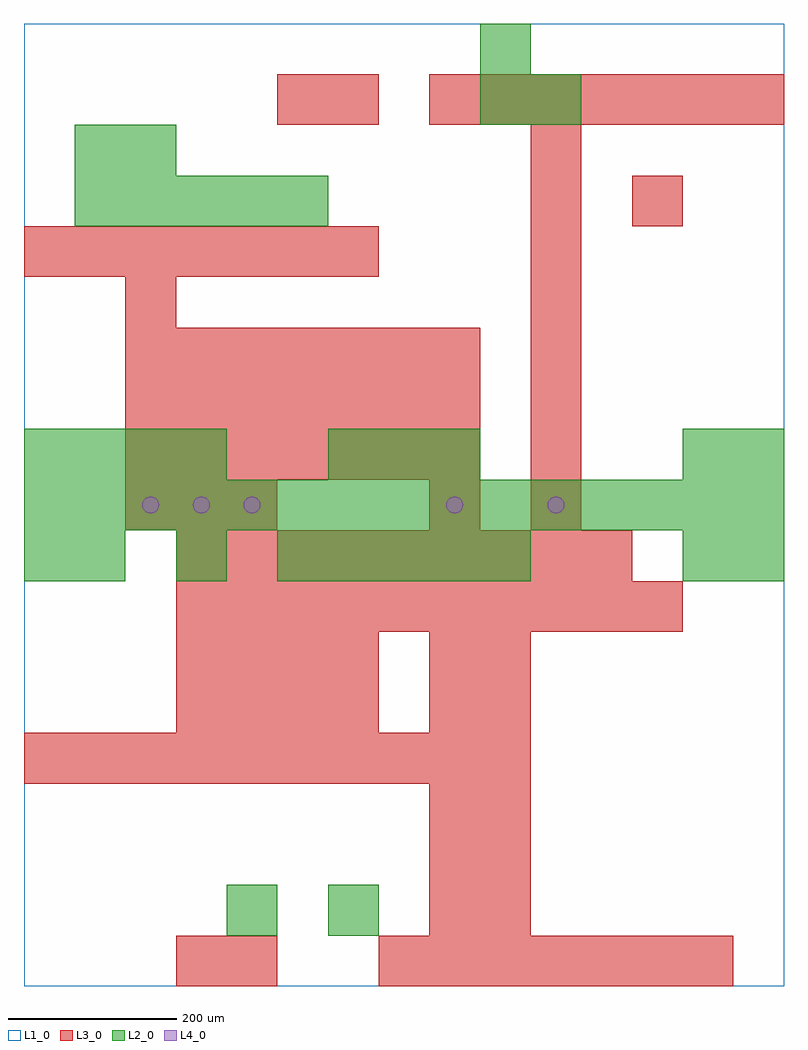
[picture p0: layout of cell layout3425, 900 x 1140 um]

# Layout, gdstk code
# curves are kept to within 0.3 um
import gdstk
lib = gdstk.Library(unit=1e-6, precision=1e-09)
def R(c, l, rs):  # rectangles x0, y0, x1, y1
    for r in rs: c.add(gdstk.rectangle(r[:2], r[2:], *l))
def A(c, l, x, y, w, h, nx, ny, dx, dy):  # array of equal rectangles
    R(c, l, [(x+i*dx, y+j*dy, x+i*dx+w, y+j*dy+h) for i in range(nx) for j in range(ny)])
def P(c, l, *ps):  # polygons
    for p in ps: c.add(gdstk.Polygon(p, *l))
L1_0 = (1, 0)
L2_0 = (2, 0)
L3_0 = (3, 0)
L4_0 = (4, 0)

layout3425 = lib.new_cell('layout3425')
R(layout3425, L1_0, [(0,0,900,1140)])
A(layout3425, L2_0, 60, 480, 60, 60, 3, 1, 120, 0)
A(layout3425, L2_0, 360, 480, 60, 60, 4, 1, 60, 0)
A(layout3425, L2_0, 0, 540, 60, 60, 15, 1, 60, 0)
A(layout3425, L2_0, 0, 600, 60, 60, 4, 1, 60, 0)
A(layout3425, L2_0, 360, 600, 60, 60, 3, 1, 60, 0)
A(layout3425, L2_0, 60, 900, 60, 60, 5, 1, 60, 0)
R(layout3425, L2_0, [(240,60,300,120), (360,60,420,120), (0,480,60,540), (780,480,840,540), (840,480,900,540), (780,600,840,660), (840,600,900,660), (60,960,120,1020), (120,960,180,1020), (540,1020,600,1080), (600,1020,660,1080), (540,1080,600,1140)])
A(layout3425, L3_0, 420, 0, 60, 60, 7, 1, 60, 0)
A(layout3425, L3_0, 480, 60, 60, 60, 1, 3, 0, 60)
A(layout3425, L3_0, 540, 60, 60, 60, 1, 3, 0, 60)
A(layout3425, L3_0, 0, 240, 60, 60, 10, 1, 60, 0)
A(layout3425, L3_0, 180, 300, 60, 60, 4, 2, 60, 60)
A(layout3425, L3_0, 180, 420, 60, 60, 10, 1, 60, 0)
A(layout3425, L3_0, 180, 480, 60, 60, 9, 1, 60, 0)
A(layout3425, L3_0, 120, 540, 60, 60, 3, 1, 60, 0)
A(layout3425, L3_0, 600, 540, 60, 60, 1, 8, 0, 60)
A(layout3425, L3_0, 120, 600, 60, 60, 7, 3, 60, 60)
A(layout3425, L3_0, 0, 840, 60, 60, 7, 1, 60, 0)
A(layout3425, L3_0, 480, 1020, 60, 60, 7, 1, 60, 0)
R(layout3425, L3_0, [(180,0,240,60), (240,0,300,60), (480,300,540,360), (540,300,600,360), (480,360,540,420), (540,360,600,420), (480,540,540,600), (120,780,180,840), (720,900,780,960), (300,1020,360,1080), (360,1020,420,1080)])
P(layout3425, L4_0, [(160,570),(159.239,573.827),(157.071,577.071),(153.827,579.239),(150,580),(146.173,579.239),(142.929,577.071),(140.761,573.827),(140,570),(140.761,566.173),(142.929,562.929),(146.173,560.761),(150,560),(153.827,560.761),(157.071,562.929),(159.239,566.173)],
  [(220,570),(219.239,573.827),(217.071,577.071),(213.827,579.239),(210,580),(206.173,579.239),(202.929,577.071),(200.761,573.827),(200,570),(200.761,566.173),(202.929,562.929),(206.173,560.761),(210,560),(213.827,560.761),(217.071,562.929),(219.239,566.173)],
  [(280,570),(279.239,573.827),(277.071,577.071),(273.827,579.239),(270,580),(266.173,579.239),(262.929,577.071),(260.761,573.827),(260,570),(260.761,566.173),(262.929,562.929),(266.173,560.761),(270,560),(273.827,560.761),(277.071,562.929),(279.239,566.173)],
  [(520,570),(519.239,573.827),(517.071,577.071),(513.827,579.239),(510,580),(506.173,579.239),(502.929,577.071),(500.761,573.827),(500,570),(500.761,566.173),(502.929,562.929),(506.173,560.761),(510,560),(513.827,560.761),(517.071,562.929),(519.239,566.173)],
  [(640,570),(639.239,573.827),(637.071,577.071),(633.827,579.239),(630,580),(626.173,579.239),(622.929,577.071),(620.761,573.827),(620,570),(620.761,566.173),(622.929,562.929),(626.173,560.761),(630,560),(633.827,560.761),(637.071,562.929),(639.239,566.173)])

lib.write_gds('layout3425.gds')
